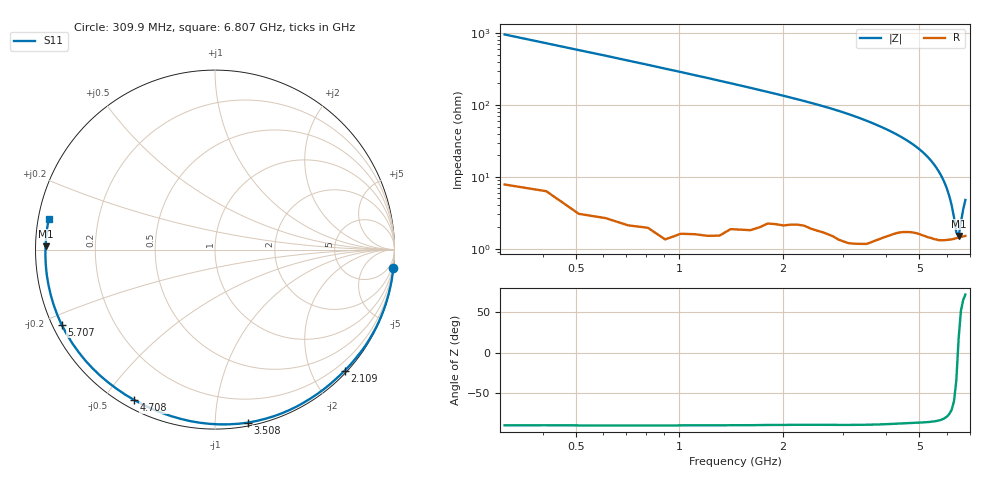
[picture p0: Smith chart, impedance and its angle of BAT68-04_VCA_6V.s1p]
! Infineon Technologies  Discrete & RF Semiconductors
! BAT68-04
! VCA = 6 V
! One-Port S-Parameters
# Hz  S  MA  R  50
!f  S11
!Hz  Mag  Ang
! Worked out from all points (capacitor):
!   66 points, 309.9 MHz to 6.807 GHz, reference 50 ohm
!   read as one part to ground: C = 535 fF near 309.9 MHz
!   lowest |Z| = 1.5 ohm at 6.507 GHz (marker M1)
!   series resonance near 6.473 GHz, so ESL is about 1.1 nH
!   S11 on the Smith chart (normalised r, x): 309.9 MHz: 0, -19; 2.109 GHz: 0.04, -2.53; 3.508 GHz: 0.02, -1.21; 4.708 GHz: 0.03, -0.60; 5.707 GHz: 0.03, -0.23; 6.807 GHz: 0.03, +0.09
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3.0985e8  0.9991 -6.0
6.097e8  0.9989 -11.8
8.096e8  0.9985 -15.7
1.2094e9  0.9974 -23.8
1.6092e9  0.9945 -32.2
2.009e9  0.9898 -40.8
2.10895e9  0.9884 -43.1
2.50875e9  0.9862 -52.3
2.8086e9  0.9855 -59.7
3.0085e9  0.9856 -65.0
3.2084e9  0.9845 -70.5
3.50825e9  0.9812 -79.3
3.6082e9  0.9791 -82.3
3.8081e9  0.974 -88.6
4.008e9  0.9684 -95.0
4.2079e9  0.9623 -101.5
4.4078e9  0.9567 -108.1
4.70765e9  0.9512 -118.3
5.0075e9  0.9496 -128.7
5.2074e9  0.9502 -135.9
5.30735e9  0.9507 -139.4
5.50725e9  0.9512 -146.7
5.70715e9  0.9515 -153.9
5.90705e9  0.9502 -161.0
6.007e9  0.9495 -164.5
6.2069e9  0.9478 -171.3
6.50675e9  0.9445 178.9
6.8066e9  0.942 169.7
